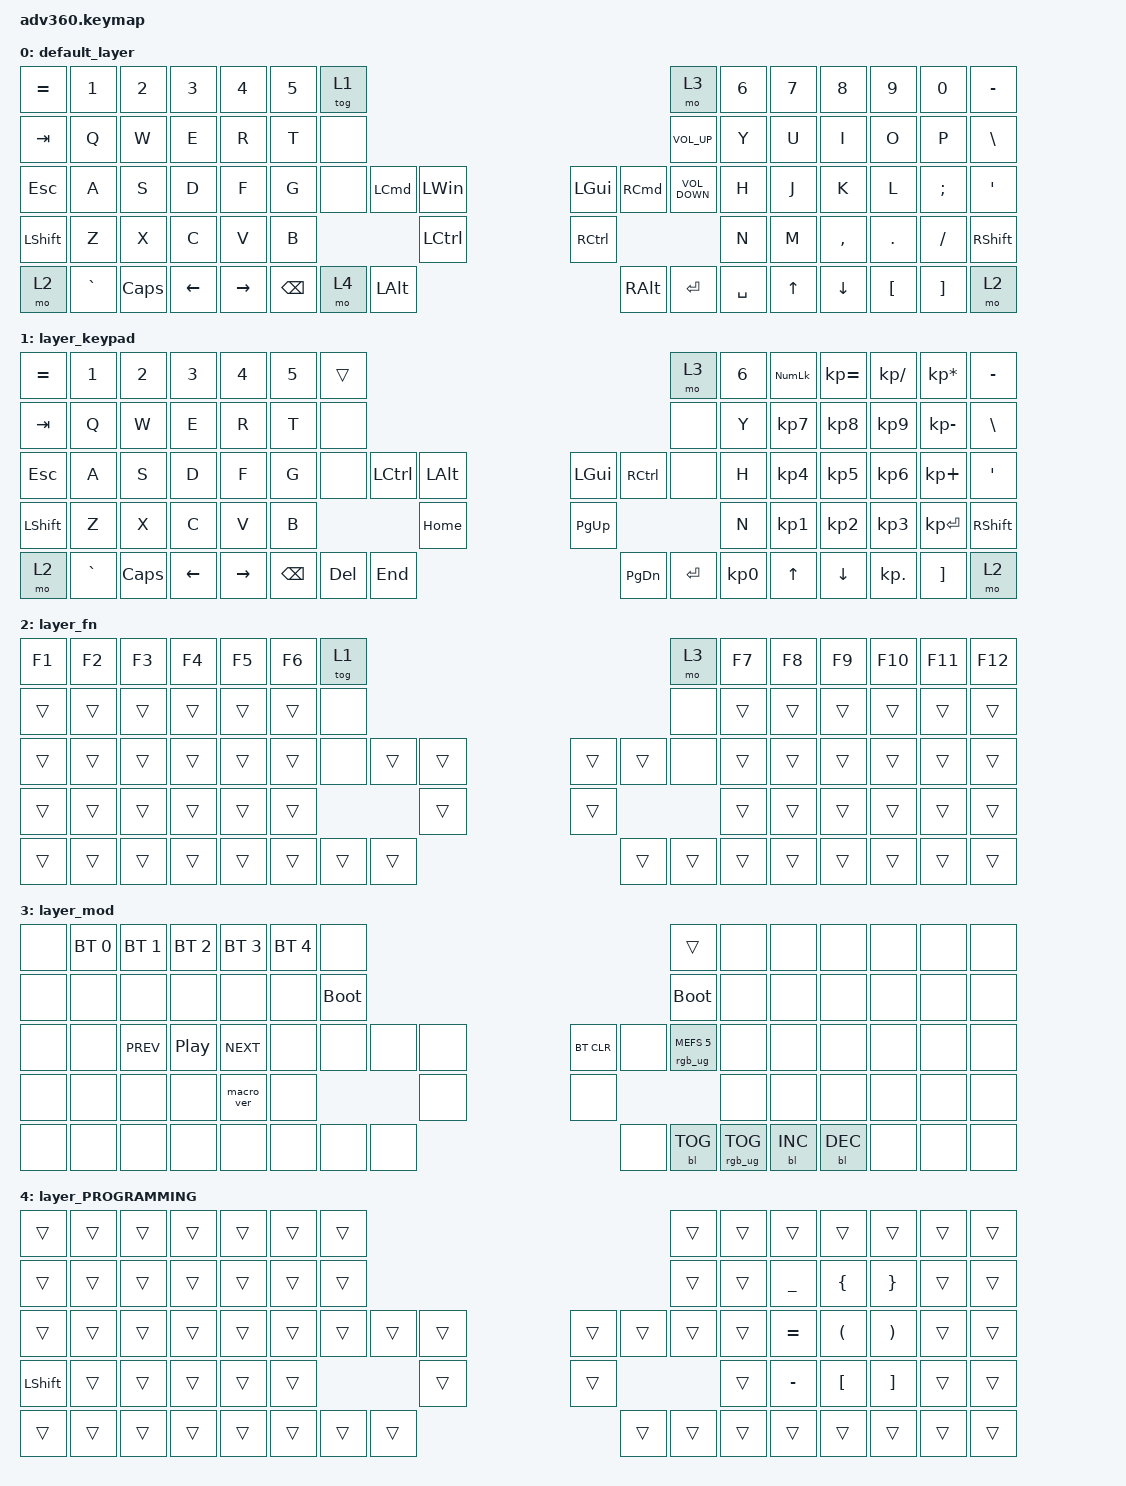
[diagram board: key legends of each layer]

/*
 * Copyright (c) 2020 The ZMK Contributors
 *
 * SPDX-License-Identifier: MIT
 */


/* THIS FILE WAS GENERATED!
 *
 * This file was generated automatically. You may or may not want to
 * edit it directly.
 */

#include <behaviors.dtsi>
#include <dt-bindings/zmk/keys.h>
#include <dt-bindings/zmk/bt.h>
#include <dt-bindings/zmk/rgb.h>
#include <dt-bindings/zmk/backlight.h>

/ {
  behaviors {
    #include "macros.dtsi"
    #include "version.dtsi"

    hm: homerow_mods {
        compatible = "zmk,behavior-hold-tap";
        label = "HOMEROW_MODS";
        #binding-cells = <2>;
        tapping-term-ms = <200>;
        quick_tap_ms = <175>;
        flavor = "tap-preferred";
        bindings = <&kp>, <&kp>;
    };
  };

    keymap {
        compatible = "zmk,keymap";


        default_layer {
            bindings = <
 &kp EQUAL     &kp N1    &kp N2    &kp N3     &kp N4  &kp N5              &tog 1                                                                                                        &mo 3  &kp N6  &kp N7     &kp N8    &kp N9    &kp N0  &kp MINUS
   &kp TAB      &kp Q     &kp W     &kp E      &kp R   &kp T               &none                                                                                                 &kp C_VOL_UP   &kp Y   &kp U      &kp I     &kp O     &kp P   &kp BSLH
   &kp ESC      &kp A     &kp S     &kp D      &kp F   &kp G               &none  &kp LEFT_COMMAND      &kp LEFT_WIN                           &kp LGUI  &kp RIGHT_COMMAND  &kp C_VOLUME_DOWN   &kp H   &kp J      &kp K     &kp L  &kp SEMI    &kp SQT
 &kp LSHFT      &kp Z     &kp X     &kp C      &kp V   &kp B                                        &kp LEFT_CONTROL                  &kp RIGHT_CONTROL                                         &kp N   &kp M  &kp COMMA   &kp DOT  &kp FSLH  &kp RSHFT
     &mo 2  &kp GRAVE  &kp CAPS  &kp LEFT  &kp RIGHT                    &kp BSPC             &mo 4      &kp LEFT_ALT                      &kp RIGHT_ALT          &kp ENTER          &kp SPACE          &kp UP   &kp DOWN  &kp LBKT  &kp RBKT      &mo 2
            >;
        };

        layer_keypad {
            bindings = <
 &kp EQUAL     &kp N1    &kp N2    &kp N3     &kp N4  &kp N5              &trans                                                                 &mo 3  &kp N6  &kp KP_NUM  &kp KP_EQUAL  &kp KP_DIVIDE  &kp KP_MULTIPLY  &kp MINUS
   &kp TAB      &kp Q     &kp W     &kp E      &kp R   &kp T               &none                                                                 &none   &kp Y   &kp KP_N7     &kp KP_N8      &kp KP_N9     &kp KP_MINUS   &kp BSLH
   &kp ESC      &kp A     &kp S     &kp D      &kp F   &kp G               &none  &kp LCTRL  &kp LALT                   &kp LGUI  &kp RCTRL      &none   &kp H   &kp KP_N4     &kp KP_N5      &kp KP_N6      &kp KP_PLUS    &kp SQT
 &kp LSHFT      &kp Z     &kp X     &kp C      &kp V   &kp B                                 &kp HOME                  &kp PG_UP                         &kp N   &kp KP_N1     &kp KP_N2      &kp KP_N3     &kp KP_ENTER  &kp RSHFT
     &mo 2  &kp GRAVE  &kp CAPS  &kp LEFT  &kp RIGHT                    &kp BSPC    &kp DEL   &kp END                  &kp PG_DN  &kp ENTER  &kp KP_N0              &kp UP      &kp DOWN     &kp KP_DOT         &kp RBKT      &mo 2
            >;
        };

        layer_fn {
            bindings = <
 &kp F1  &kp F2  &kp F3  &kp F4  &kp F5  &kp F6            &tog 1                                                   &mo 3  &kp F7  &kp F8  &kp F9  &kp F10  &kp F11  &kp F12
 &trans  &trans  &trans  &trans  &trans  &trans             &none                                                   &none  &trans  &trans  &trans   &trans   &trans   &trans
 &trans  &trans  &trans  &trans  &trans  &trans             &none  &trans  &trans                  &trans  &trans   &none  &trans  &trans  &trans   &trans   &trans   &trans
 &trans  &trans  &trans  &trans  &trans  &trans                            &trans                  &trans                  &trans  &trans  &trans   &trans   &trans   &trans
 &trans  &trans  &trans  &trans  &trans                    &trans  &trans  &trans                  &trans  &trans  &trans          &trans  &trans   &trans   &trans   &trans
            >;
        };

        layer_mod {
            bindings = <
  &none  &bt BT_SEL 0  &bt BT_SEL 1  &bt BT_SEL 2  &bt BT_SEL 3  &bt BT_SEL 4                  &none                                                                          &trans   &none       &none       &none   &none   &none   &none
  &none         &none         &none         &none         &none         &none            &bootloader                                                                     &bootloader   &none       &none       &none   &none   &none   &none
  &none         &none    &kp C_PREV      &kp C_PP    &kp C_NEXT         &none                  &none   &none   &none                  &bt BT_CLR       &none  &rgb_ug RGB_MEFS_CMD 5   &none       &none       &none   &none   &none   &none
  &none         &none         &none         &none    &macro_ver         &none                                  &none                       &none                                       &none       &none       &none   &none   &none   &none
  &none         &none         &none         &none         &none                                &none   &none   &none                       &none  &bl BL_TOG         &rgb_ug RGB_TOG          &bl BL_INC  &bl BL_DEC   &none   &none   &none
            >;
        };

        layer_PROGRAMMING {
            bindings = <
         &trans  &trans  &trans  &trans  &trans  &trans            &trans                                                  &trans  &trans     &trans                &trans                 &trans  &trans  &trans
         &trans  &trans  &trans  &trans  &trans  &trans            &trans                                                  &trans  &trans  &kp UNDER        &kp LEFT_BRACE        &kp RIGHT_BRACE  &trans  &trans
         &trans  &trans  &trans  &trans  &trans  &trans            &trans  &trans  &trans                  &trans  &trans  &trans  &trans  &kp EQUAL  &kp LEFT_PARENTHESIS  &kp RIGHT_PARENTHESIS  &trans  &trans
 &kp LEFT_SHIFT  &trans  &trans  &trans  &trans  &trans                            &trans                  &trans                  &trans  &kp MINUS      &kp LEFT_BRACKET      &kp RIGHT_BRACKET  &trans  &trans
         &trans  &trans  &trans  &trans  &trans                    &trans  &trans  &trans                  &trans  &trans  &trans             &trans                &trans                 &trans  &trans  &trans
            >;
        };

    };
};
